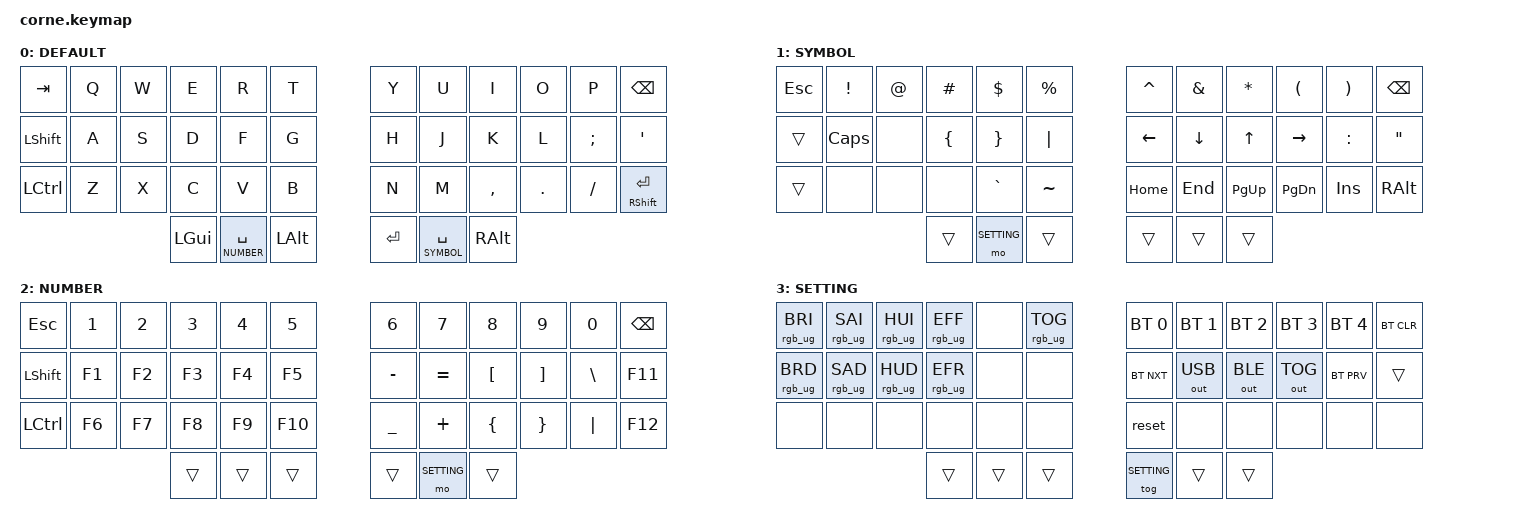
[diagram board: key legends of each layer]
/*
 * Copyright (c) 2020 The ZMK Contributors
 *
 * SPDX-License-Identifier: MIT
 */

#include <behaviors.dtsi>
#include <dt-bindings/zmk/keys.h>
#include <dt-bindings/zmk/bt.h>
#include <dt-bindings/zmk/rgb.h>
#include <dt-bindings/zmk/outputs.h>

#define DEFAULT 0
#define SYMBOL  1
#define NUMBER  2
#define SETTING 3

/ {
        keymap {
                compatible = "zmk,keymap";

                default_layer {
// -----------------------------------------------------------------------------------------
// | TAB  |  Q  |  W  |  E  |  R       |  T  |     |  Y  |  U        |  I  |  O  |  P  |   BKSP    |
// | SHFT |  A  |  S  |  D  |  F       |  G  |     |  H  |  J        |  K  |  L  |  ;  |     '     |
// | CTRL |  Z  |  X  |  C  |  V       |  B  |     |  N  |  M        |  ,  |  .  |  /  | SHFT(RET) |
//                    | GUI | SPC(NUM) | ALT |     | ENT | SPC(SYM)  | ALT |
                        label = "DEFAULT";
                        bindings = <
   &kp TAB   &kp Q &kp W &kp E    &kp R            &kp T         &kp Y   &kp U            &kp I     &kp O   &kp P    &kp BSPC
   &kp LSHFT &kp A &kp S &kp D    &kp F            &kp G         &kp H   &kp J            &kp K     &kp L   &kp SEMI &kp SQT
   &kp LCTRL &kp Z &kp X &kp C    &kp V            &kp B         &kp N   &kp M            &kp COMMA &kp DOT &kp FSLH &mt RSHFT RET
                         &kp LGUI &lt NUMBER SPACE &kp LALT      &kp RET &lt SYMBOL SPACE &kp RALT
                        >;
                };
                symbol_layer {
// -----------------------------------------------------------------------------------------
// | ESC  |  !  |  @  |  #  |  $  |  %  |     |  ^   |  &   |  *   |  (   |  )  | BSPC |
// |      | CAPS|     |  {  |  }  | "|" |     | LEFT | DOWN |  UP  | RGT  |  :  |  "   |
// |      |     |     |     |  `  |  ~  |     | HOME | END  | PGUP | PGDN | INS | ALT  |
//                    |     | SET |     |     |      |      |      |
                        label = "SYMBOL";
                        bindings = <
   &kp ESC   &kp EXCL  &kp AT   &kp HASH &kp DLLR    &kp PRCNT      &kp CARET &kp AMPS    &kp STAR  &kp LPAR  &kp RPAR  &kp BSPC
   &trans    &kp CLCK  &none    &kp LBRC &kp RBRC    &kp PIPE       &kp LEFT  &kp DOWN    &kp UP    &kp RIGHT &kp COLON &kp DQT
   &trans    &none     &none    &none    &kp GRAVE   &kp TILDE      &kp HOME  &kp END     &kp PG_UP &kp PG_DN &kp INS   &kp RALT
                          	&trans   &mo SETTING &trans         &trans    &trans      &trans
                        >;
                };
                number_layer {
// -----------------------------------------------------------------------------------------
// | ESC |  1  |  2  |  3  |  4  |  5  |   |  6  |  7  |  8  |  9  |  0  | BSPC |
// | SHF |  F1 |  F2 |  F3 | F4  |  F5 |   |  -  |  =  |  [  |  ]  |  \  | F11  |
// | CTL |  F6 |  F7 |  F8 | F9  | F10 |   |  _  |  +  |  {  |  }  | "|" | F12  |
//                   |     |     |     |   | SET |     |     |
                        label = "NUMBER";
                        bindings = <
   &kp ESC   &kp N1 &kp N2 &kp N3 &kp N4 &kp N5      &kp N6    &kp N7       &kp N8   &kp N9   &kp N0   &kp BSPC
   &kp LSHFT &kp F1 &kp F2 &kp F3 &kp F4 &kp F5      &kp MINUS &kp EQUAL    &kp LBKT &kp RBKT &kp BSLH &kp F11
   &kp LCTRL &kp F6 &kp F7 &kp F8 &kp F9 &kp F10     &kp UNDER &kp PLUS     &kp LBRC &kp RBRC &kp PIPE &kp F12
                           &trans &trans &trans      &trans    &mo SETTING  &trans
                        >;
                };
                setting_layer {
// -----------------------------------------------------------------------------------------
// | RGB BRI+ | RGB SAT+ | RGB HUE+ | RGB ANI+ | | RGB TOG |     |  BT1  | BT2 | BT3 | BT4 | BT5 | BT CLR |
// | RGB BRI- | RGB SAT- | RGB HUE- | RGB ANI- | |         |     |BT_NXT |OUT_USB|     |     |     |        |
// |          |          |          |          | |         |     | RESET |     |     |     |     |        |
//                                  |          | |         |     |       |     |     |
                        label = "SETTING";
                        bindings = <
   &rgb_ug RGB_BRI &rgb_ug RGB_SAI &rgb_ug RGB_HUI &rgb_ug RGB_EFF &none  &rgb_ug RGB_TOG    &bt BT_SEL 0 &bt BT_SEL 1 &bt BT_SEL 2 &bt BT_SEL 3 &bt BT_SEL 4 &bt BT_CLR
   &rgb_ug RGB_BRD &rgb_ug RGB_SAD &rgb_ug RGB_HUD &rgb_ug RGB_EFR &none  &none              &bt BT_NXT  &out OUT_USB  &out OUT_BLE &out OUT_TOG       &bt BT_PRV       &trans
   &none           &none           &none           &none           &none  &none              &reset       &none        &none        &none        &none        &none
                                                   &trans          &trans &trans             &tog SETTING &trans       &trans
                        >;
                };
        };
};
